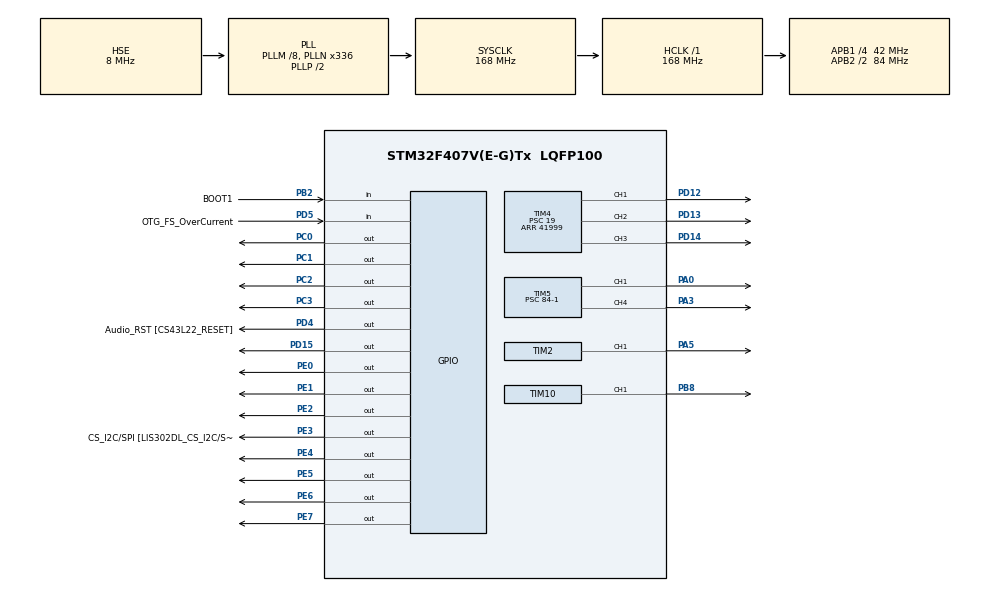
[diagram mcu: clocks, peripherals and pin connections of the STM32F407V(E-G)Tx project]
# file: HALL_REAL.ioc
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Mcu.Family=STM32F4
Mcu.Name=STM32F407V(E-G)Tx
Mcu.Package=LQFP100
NVIC.PriorityGroup=NVIC_PRIORITYGROUP_0
NVIC.TIM7_IRQn=true\:0\:0\:false\:true\:true\:2\:true\:true\:true
PA0-WKUP.Signal=S_TIM5_CH1
PA10.GPIO_Label=OTG_FS_ID
PA10.GPIO_Mode=GPIO_MODE_AF_PP
PA10.GPIO_PuPd=GPIO_NOPULL
PA10.GPIO_Speed=GPIO_SPEED_FREQ_LOW
PA10.Signal=USB_OTG_FS_ID
PA11.GPIO_Label=OTG_FS_DM
PA11.GPIO_Mode=GPIO_MODE_AF_PP
PA11.GPIO_PuPd=GPIO_NOPULL
PA11.GPIO_Speed=GPIO_SPEED_FREQ_LOW
PA11.Signal=USB_OTG_FS_DM
PA12.GPIO_Label=OTG_FS_DP
PA12.GPIO_Mode=GPIO_MODE_AF_PP
PA12.GPIO_PuPd=GPIO_NOPULL
PA12.GPIO_Speed=GPIO_SPEED_FREQ_LOW
PA12.Signal=USB_OTG_FS_DP
PA13.GPIO_Label=SWDIO
PA13.Mode=Serial_Wire
PA13.Signal=SYS_JTMS-SWDIO
PA14.GPIO_Label=SWCLK
PA14.Mode=Serial_Wire
PA14.Signal=SYS_JTCK-SWCLK
PA3.Signal=S_TIM5_CH4
PA4.GPIO_Label=I2S3_WS [CS43L22_LRCK]
PA4.GPIO_Mode=GPIO_MODE_AF_PP
PA4.GPIO_PuPd=GPIO_NOPULL
PA4.GPIO_Speed=GPIO_SPEED_FREQ_LOW
PA4.Signal=I2S3_WS
PA5.Signal=S_TIM2_CH1_ETR
PA6.GPIO_Label=SPI1_MISO [LIS302DL_SDO]
PA6.GPIO_Mode=GPIO_MODE_AF_PP
PA6.GPIO_PuPd=GPIO_NOPULL
PA6.GPIO_Speed=GPIO_SPEED_FREQ_LOW
PA6.Signal=SPI1_MISO
PA7.GPIO_Label=SPI1_MOSI [LIS302DL_SDA/SDI/SDO]
PA7.GPIO_Mode=GPIO_MODE_AF_PP
PA7.GPIO_PuPd=GPIO_NOPULL
PA7.GPIO_Speed=GPIO_SPEED_FREQ_LOW
PA7.Signal=SPI1_MOSI
PA9.GPIO_Label=VBUS_FS
PA9.GPIO_Mode=GPIO_MODE_INPUT
PA9.GPIO_PuPd=GPIO_NOPULL
PA9.Signal=USB_OTG_FS_VBUS
PB10.GPIO_Label=CLK_IN [MP45DT02_CLK]
PB10.GPIO_Mode=GPIO_MODE_AF_PP
PB10.GPIO_PuPd=GPIO_NOPULL
PB10.GPIO_Speed=GPIO_SPEED_FREQ_LOW
PB10.Signal=I2S2_CK
PB2.GPIO_Label=BOOT1
PB2.GPIO_Mode=GPIO_MODE_INPUT
PB2.GPIO_PuPd=GPIO_NOPULL
PB2.Signal=GPIO_Input
PB3.GPIO_Label=SWO
PB3.Signal=SYS_JTDO-SWO
PB6.GPIO_Label=Audio_SCL [CS43L22_SCL]
PB6.GPIO_Mode=GPIO_MODE_AF_OD
PB6.GPIO_Pu=GPIO_PULLUP
PB6.GPIO_PuPd=GPIO_NOPULL
PB6.GPIO_Speed=GPIO_SPEED_FREQ_LOW
PB6.Signal=I2C1_SCL
PB8.Signal=S_TIM10_CH1
PB9.GPIO_Label=Audio_SDA [CS43L22_SDA]
PB9.GPIO_Mode=GPIO_MODE_AF_OD
PB9.GPIO_Pu=GPIO_PULLUP
PB9.GPIO_PuPd=GPIO_NOPULL
PB9.GPIO_Speed=GPIO_SPEED_FREQ_LOW
PB9.Signal=I2C1_SDA
PC0.Signal=GPIO_Output
PC1.Signal=GPIO_Output
PC10.GPIO_Label=I2S3_SCK [CS43L22_SCLK]
PC10.GPIO_Mode=GPIO_MODE_AF_PP
PC10.GPIO_PuPd=GPIO_NOPULL
PC10.GPIO_Speed=GPIO_SPEED_FREQ_LOW
PC10.Signal=I2S3_CK
PC12.GPIO_Label=I2S3_SD [CS43L22_SDIN]
PC12.GPIO_Mode=GPIO_MODE_AF_PP
PC12.GPIO_PuPd=GPIO_NOPULL
PC12.GPIO_Speed=GPIO_SPEED_FREQ_LOW
PC12.Signal=I2S3_SD
PC14-OSC32_IN.GPIO_Label=PC14-OSC32_IN
PC14-OSC32_IN.Mode=LSE-External-Oscillator
PC14-OSC32_IN.Signal=RCC_OSC32_IN
PC15-OSC32_OUT.GPIO_Label=PC15-OSC32_OUT
PC15-OSC32_OUT.Mode=LSE-External-Oscillator
PC15-OSC32_OUT.Signal=RCC_OSC32_OUT
PC2.Signal=GPIO_Output
PC3.Signal=GPIO_Output
PC7.GPIO_Label=I2S3_MCK [CS43L22_MCLK]
PC7.GPIO_Mode=GPIO_MODE_AF_PP
PC7.GPIO_PuPd=GPIO_NOPULL
PC7.GPIO_Speed=GPIO_SPEED_FREQ_LOW
PC7.Signal=I2S3_MCK
PD12.Signal=S_TIM4_CH1
PD13.Signal=S_TIM4_CH2
PD14.Signal=S_TIM4_CH3
PD15.Signal=GPIO_Output
PD4.GPIO_Label=Audio_RST [CS43L22_RESET]
PD4.GPIO_PuPd=GPIO_NOPULL
PD4.GPIO_Speed=GPIO_SPEED_FREQ_LOW
PD4.Signal=GPIO_Output
PD5.GPIO_Label=OTG_FS_OverCurrent
PD5.GPIO_Mode=GPIO_MODE_INPUT
PD5.GPIO_PuPd=GPIO_NOPULL
PD5.Signal=GPIO_Input
PE0.Signal=GPIO_Output
PE1.Signal=GPIO_Output
PE2.Signal=GPIO_Output
PE3.GPIO_Label=CS_I2C/SPI [LIS302DL_CS_I2C/SPI]
PE3.GPIO_PuPd=GPIO_NOPULL
PE3.GPIO_Speed=GPIO_SPEED_FREQ_LOW
PE3.Signal=GPIO_Output
PE4.Signal=GPIO_Output
PE5.Signal=GPIO_Output
PE6.Signal=GPIO_Output
PE7.Signal=GPIO_Output
PH0-OSC_IN.GPIO_Label=PH0-OSC_IN
PH0-OSC_IN.Mode=HSE-External-Oscillator
PH0-OSC_IN.Signal=RCC_OSC_IN
PH1-OSC_OUT.GPIO_Label=PH1-OSC_OUT
PH1-OSC_OUT.Mode=HSE-External-Oscillator
PH1-OSC_OUT.Signal=RCC_OSC_OUT
ProjectManager.HeapSize=0x200
ProjectManager.StackSize=0x400
ProjectManager.TargetToolchain=STM32CubeIDE
RCC.48MHZClocksFreq_Value=48000000
RCC.AHBFreq_Value=168000000
RCC.APB1CLKDivider=RCC_HCLK_DIV4
RCC.APB1Freq_Value=42000000
RCC.APB1TimFreq_Value=84000000
RCC.APB2CLKDivider=RCC_HCLK_DIV2
RCC.APB2Freq_Value=84000000
RCC.APB2TimFreq_Value=168000000
RCC.CortexFreq_Value=168000000
RCC.HCLKFreq_Value=168000000
RCC.HSE_VALUE=8000000
RCC.HSI_VALUE=16000000
RCC.PLLM=8
RCC.PLLN=336
RCC.PLLQ=7
RCC.PLLSourceVirtual=RCC_PLLSOURCE_HSE
RCC.SYSCLKFreq_VALUE=168000000
RCC.SYSCLKSource=RCC_SYSCLKSOURCE_PLLCLK
RCC.VCOOutputFreq_Value=336000000
SH.S_TIM10_CH1.0=TIM10_CH1,PWM Generation1 CH1
SH.S_TIM2_CH1_ETR.0=TIM2_CH1,PWM Generation1 CH1
SH.S_TIM4_CH1.0=TIM4_CH1,PWM Generation1 CH1
SH.S_TIM4_CH2.0=TIM4_CH2,PWM Generation2 CH2
SH.S_TIM4_CH3.0=TIM4_CH3,PWM Generation3 CH3
SH.S_TIM5_CH1.0=TIM5_CH1,PWM Generation1 CH1
SH.S_TIM5_CH4.0=TIM5_CH4,PWM Generation4 CH4
TIM10.Channel=TIM_CHANNEL_1
TIM10.Period=10000-1
TIM10.Prescaler=335
TIM10.Pulse=100
TIM2.Channel-PWM\ Generation1\ CH1=TIM_CHANNEL_1
TIM2.Period=1000-1
TIM2.Prescaler=167
TIM2.Pulse-PWM\ Generation1\ CH1=500
TIM4.Channel-PWM\ Generation1\ CH1=TIM_CHANNEL_1
TIM4.Channel-PWM\ Generation2\ CH2=TIM_CHANNEL_2
TIM4.Channel-PWM\ Generation3\ CH3=TIM_CHANNEL_3
TIM4.Period=41999
TIM4.Prescaler=19
TIM4.Pulse-PWM\ Generation1\ CH1=21000-1
TIM4.Pulse-PWM\ Generation2\ CH2=10500-1
TIM4.Pulse-PWM\ Generation3\ CH3=5250-1
TIM5.Channel-PWM\ Generation1\ CH1=TIM_CHANNEL_1
TIM5.Channel-PWM\ Generation4\ CH4=TIM_CHANNEL_4
TIM5.Period=10000-1
TIM5.Prescaler=84-1
TIM7.Period=99
TIM7.Prescaler=8399
VP_TIM10_VS_ClockSourceINT.Mode=Enable_Timer
VP_TIM2_VS_ClockSourceINT.Mode=Internal
VP_TIM4_VS_ClockSourceINT.Mode=Internal
VP_TIM5_VS_ClockSourceINT.Mode=Internal
VP_TIM7_VS_ClockSourceINT.Mode=Enable_Timer
board=STM32F407G-DISC1

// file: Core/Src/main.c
/* USER CODE BEGIN Header */
/**
  ******************************************************************************
  * @file           : main.c
  * @brief          : Minimal LCD "Hello" demo
  ******************************************************************************
  */
/* USER CODE END Header */
#include "main.h"
#include "tim.h"
#include "gpio.h"

/* USER CODE BEGIN Includes */
#include "clcd.h"
/* USER CODE END Includes */

void SystemClock_Config(void);
static void MX_NVIC_Init(void);

int main(void)
{

  /* MCU Configuration--------------------------------------------------------*/

  /* Reset of all peripherals, Initializes the Flash interface and the Systick. */
  HAL_Init();

  /* Configure the system clock */
  SystemClock_Config();

  /* Initialize all configured peripherals */
  MX_GPIO_Init();
  MX_TIM7_Init();
  MX_TIM4_Init();
  MX_TIM10_Init();
  MX_TIM2_Init();
  MX_TIM5_Init();

  /* Initialize interrupts */
  MX_NVIC_Init();
  /* USER CODE BEGIN 2 */
  // LCD GPIO + controller init
  CLCD_GPIO_Init();        // sets PE0/1/2 and PE4..7 as outputs, pulls low
  CLCD_Init();             // HD44780 4-bit init sequence

//  // Clear and print
//  CLCD_Clear();
//  CLCD_Puts(0,0,(uint8_t*)"Hello");
//  CLCD_Puts(0,1,(uint8_t*)"World!");

  HAL_TIM_Base_Start_IT(&htim7);

  HAL_TIM_PWM_Start(&htim4, TIM_CHANNEL_1);
  HAL_TIM_PWM_Start(&htim4, TIM_CHANNEL_2);
  HAL_TIM_PWM_Start(&htim4, TIM_CHANNEL_3);

  // Servo Motor
  HAL_TIM_PWM_Start(&htim10, TIM_CHANNEL_1);
  TIM10->CCR1 = 1500;

  // Passive Buzzer
  HAL_TIM_PWM_Start(&htim2, TIM_CHANNEL_1);
  // Changing Frequency
  TIM2->ARR = 500;
  TIM2->CCR1 = 250;

  //DC MOTOR ANTI-CLOWISE
  HAL_TIM_PWM_Start(&htim5, TIM_CHANNEL_1);
  HAL_TIM_PWM_Start(&htim5, TIM_CHANNEL_4);

  //CLOCK WISE
  TIM5 -> CCR1 = 0;
  TIM5 -> CCR4 = 5000;

  /* USER CODE END 2 */

  /* Infinite loop */
  /* USER CODE BEGIN WHILE */
  uint16_t ccr = 0;
  while (1)
  {
    /* USER CODE END WHILE */
	    TIM4->CCR1 = ccr;
	    ccr += 1000;
	    if (ccr > TIM4->ARR)
	        ccr = 0;
	    HAL_Delay(50);
  }
}

void SystemClock_Config(void)
{
  RCC_OscInitTypeDef RCC_OscInitStruct = {0};
  RCC_ClkInitTypeDef RCC_ClkInitStruct = {0};

  /** Configure the main internal regulator output voltage
  */
  __HAL_RCC_PWR_CLK_ENABLE();
  __HAL_PWR_VOLTAGESCALING_CONFIG(PWR_REGULATOR_VOLTAGE_SCALE1);

  /** Initializes the RCC Oscillators according to the specified parameters
  * in the RCC_OscInitTypeDef structure.
  */
  RCC_OscInitStruct.OscillatorType = RCC_OSCILLATORTYPE_HSE;
  RCC_OscInitStruct.HSEState = RCC_HSE_ON;
  RCC_OscInitStruct.PLL.PLLState = RCC_PLL_ON;
  RCC_OscInitStruct.PLL.PLLSource = RCC_PLLSOURCE_HSE;
  RCC_OscInitStruct.PLL.PLLM = 8;
  RCC_OscInitStruct.PLL.PLLN = 336;
  RCC_OscInitStruct.PLL.PLLP = RCC_PLLP_DIV2;
  RCC_OscInitStruct.PLL.PLLQ = 7;
  if (HAL_RCC_OscConfig(&RCC_OscInitStruct) != HAL_OK)
  {
    Error_Handler();
  }

  /** Initializes the CPU, AHB and APB buses clocks
  */
  RCC_ClkInitStruct.ClockType = RCC_CLOCKTYPE_HCLK|RCC_CLOCKTYPE_SYSCLK
                              |RCC_CLOCKTYPE_PCLK1|RCC_CLOCKTYPE_PCLK2;
  RCC_ClkInitStruct.SYSCLKSource = RCC_SYSCLKSOURCE_PLLCLK;
  RCC_ClkInitStruct.AHBCLKDivider = RCC_SYSCLK_DIV1;
  RCC_ClkInitStruct.APB1CLKDivider = RCC_HCLK_DIV4;
  RCC_ClkInitStruct.APB2CLKDivider = RCC_HCLK_DIV2;

  if (HAL_RCC_ClockConfig(&RCC_ClkInitStruct, FLASH_LATENCY_5) != HAL_OK)
  {
    Error_Handler();
  }
}

/**
  * @brief NVIC Configuration.
  * @retval None
  */
static void MX_NVIC_Init(void)
{
  /* TIM7_IRQn interrupt configuration */
  HAL_NVIC_SetPriority(TIM7_IRQn, 0, 0);
  HAL_NVIC_EnableIRQ(TIM7_IRQn);
}

/* USER CODE BEGIN 4 */

void HAL_TIM_PeriodElapsedCallback(TIM_HandleTypeDef *htim)
{
    if (htim->Instance == TIM7)
    {
//        HAL_GPIO_TogglePin(GPIOD, GPIO_PIN_12);
//        HAL_GPIO_TogglePin(GPIOD, GPIO_PIN_13);
//        HAL_GPIO_TogglePin(GPIOD, GPIO_PIN_14);
        HAL_GPIO_TogglePin(GPIOD, GPIO_PIN_15);
    }
}

void HAL_GPIO_EXTI_Callback(uint16_t GPIO_Pin)
{
	if(GPIO_Pin == GPIO_PIN_0){
		HAL_GPIO_TogglePin(GPIOD, GPIO_PIN_12);
		HAL_GPIO_TogglePin(GPIOD, GPIO_PIN_13);
		HAL_GPIO_TogglePin(GPIOD, GPIO_PIN_14);
		HAL_GPIO_TogglePin(GPIOD, GPIO_PIN_15);
	}
}

/* USER CODE END 4 */

void Error_Handler(void)
{
  __disable_irq();
  while (1)
  {
  }
}
